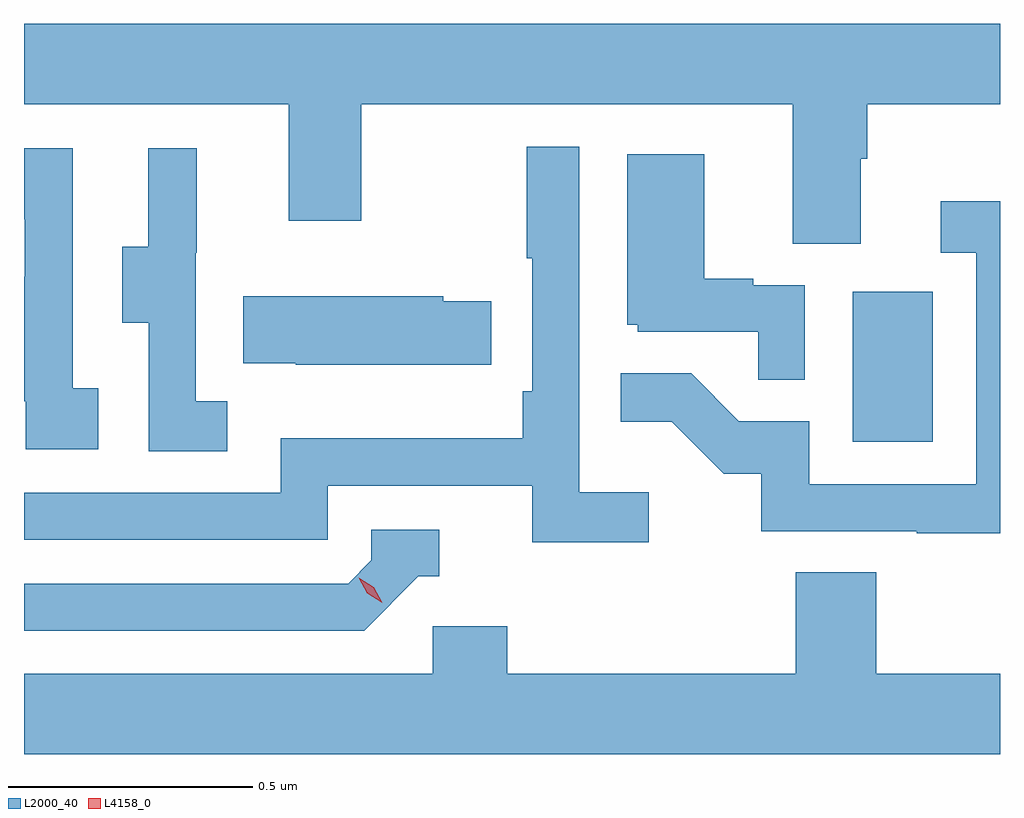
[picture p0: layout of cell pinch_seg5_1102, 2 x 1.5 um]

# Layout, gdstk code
import gdstk
lib = gdstk.Library(unit=1e-6, precision=1e-09)
def R(c, l, rs):  # rectangles x0, y0, x1, y1
    for r in rs: c.add(gdstk.rectangle(r[:2], r[2:], *l))
def P(c, l, *ps):  # polygons
    for p in ps: c.add(gdstk.Polygon(p, *l))
L2000_40 = (2000, 40)
L4158_0 = (4158, 0)

pinch_seg5_1102 = lib.new_cell('pinch_seg5_1102')
R(pinch_seg5_1102, L2000_40, [(845.792,869.388,845.956,869.695)])
P(pinch_seg5_1102, L2000_40, [(845.809,869.968),(845.822,869.968),(845.822,870.08),(846.094,870.08),(846.094,870.244),(844.094,870.244),(844.094,870.08),(844.637,870.08),(844.637,869.841),(844.785,869.841),(844.785,870.08),(845.669,870.08),(845.669,869.794),(845.809,869.794)],
  [(845.374,869.284),(845.232,869.284),(845.232,869.992),(845.124,869.992),(845.124,869.764),(845.136,869.764),(845.136,869.491),(845.116,869.491),(845.116,869.395),(844.62,869.395),(844.62,869.283),(844.094,869.283),(844.094,869.187),(844.716,869.187),(844.716,869.298),(845.135,869.298),(845.135,869.182),(845.374,869.182)],
  [(844.246,869.498),(844.194,869.498),(844.194,869.989),(844.094,869.989),(844.094,869.844),(844.096,869.844),(844.096,869.726),(844.094,869.726),(844.094,869.471),(844.098,869.471),(844.098,869.373),(844.246,869.373)],
  [(844.51,869.471),(844.446,869.471),(844.446,869.775),(844.448,869.775),(844.448,869.989),(844.349,869.989),(844.349,869.787),(844.295,869.787),(844.295,869.632),(844.35,869.632),(844.35,869.368),(844.51,869.368)],
  [(845.694,869.709),(845.588,869.709),(845.588,869.722),(845.488,869.722),(845.488,869.977),(845.33,869.977),(845.33,869.628),(845.352,869.628),(845.352,869.613),(845.599,869.613),(845.599,869.515),(845.694,869.515)],
  [(846.094,869.881),(845.973,869.881),(845.973,869.775),(846.045,869.775),(846.045,869.301),(845.703,869.301),(845.703,869.43),(845.559,869.43),(845.461,869.528),(845.317,869.528),(845.317,869.429),(845.421,869.429),(845.528,869.322),(845.605,869.322),(845.605,869.205),(845.923,869.205),(845.923,869.2),(846.094,869.2)],
  [(845.051,869.676),(844.953,869.676),(844.953,869.686),(844.543,869.686),(844.543,869.549),(844.651,869.549),(844.651,869.546),(845.051,869.546)],
  [(844.902,869.112),(844.945,869.112),(844.945,869.208),(844.806,869.208),(844.806,869.145),(844.758,869.097),(844.094,869.097),(844.094,869.001),(844.791,869.001)],
  [(846.094,868.912),(845.84,868.912),(845.84,869.12),(845.675,869.12),(845.675,868.912),(845.084,868.912),(845.084,869.01),(844.932,869.01),(844.932,868.912),(844.094,868.912),(844.094,868.748),(846.094,868.748)])
P(pinch_seg5_1102, L4158_0, [(844.828,869.058),(844.797,869.077),(844.78,869.109),(844.78,869.109),(844.78,869.109),(844.811,869.09),(844.828,869.058),(844.828,869.058)])

lib.write_gds('pinch_seg5_1102.gds')
